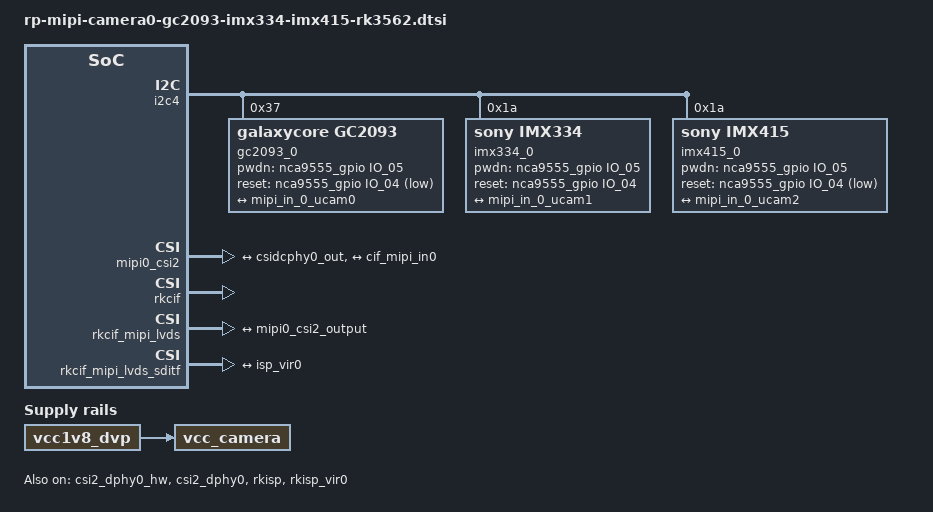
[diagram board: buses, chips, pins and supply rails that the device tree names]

/ {


        vcc_camera: vcc-camera-regulator {
                compatible = "regulator-fixed";
                regulator-name = "vcc_camera";
                enable-active-high;
                regulator-always-on;
                regulator-boot-on;
		vin-supply = <&vcc1v8_dvp>;
        };
};

&i2c4 {
        status = "okay";
        gc2093_0: gc2093_0@37 {
                compatible = "galaxycore,gc2093";
                status = "okay";
                reg = <0x37>;
                clocks = <&cru CLK_CAM0_OUT2IO>;
                clock-names = "xvclk";
                pinctrl-names = "default";
		pinctrl-0 = <&camm0_clk0_out>;
                pwdn-gpios = <&nca9555_gpio IO_05 GPIO_ACTIVE_HIGH>;
                reset-gpios = <&nca9555_gpio IO_04 GPIO_ACTIVE_LOW>;
                rockchip,camera-module-index = <0>;
                rockchip,camera-module-facing = "back";
                rockchip,camera-module-name = "DW-RV2093-V1.0";
                rockchip,camera-module-lens-name = "JZ-7070AS-A1";
                port {
                        ucam_0_out0: endpoint {
                                remote-endpoint = <&mipi_in_0_ucam0>;
                                data-lanes = <1 2>;
                        };
                };
        };

   	imx334_0: imx334_0@1a {
                compatible = "sony,imx334";
                status = "okay";
                reg = <0x1a>;
                clocks = <&cru CLK_CAM0_OUT2IO>;
                clock-names = "xvclk";
                // conflict with csi-ctl-gpios//
                pwdn-gpios = <&nca9555_gpio IO_05 GPIO_ACTIVE_HIGH>;
                reset-gpios = <&nca9555_gpio IO_04 GPIO_ACTIVE_HIGH>;
                pinctrl-names = "default";
                pinctrl-0 = <&camm0_clk0_out>;
                rockchip,camera-module-index = <0>;
                rockchip,camera-module-facing = "back";
                rockchip,camera-module-name = "CMK-OT1522-FG3";
                rockchip,camera-module-lens-name = "CS-P1150-IRC-8M-FAU";
                
                port {
                        ucam_0_out1: endpoint {
                                remote-endpoint = <&mipi_in_0_ucam1>;
                                data-lanes = <1 2 3 4>;
                        };
                };
        };

    	imx415_0: imx415_0@1a {
                compatible = "sony,imx415";
                status = "okay";
                reg = <0x1a>;
                clocks = <&cru CLK_CAM0_OUT2IO>;
                clock-names = "xvclk";
                pwdn-gpios = <&nca9555_gpio IO_05 GPIO_ACTIVE_HIGH>;
                reset-gpios = <&nca9555_gpio IO_04 GPIO_ACTIVE_LOW>;
                pinctrl-names = "default";
                pinctrl-0 = <&camm0_clk0_out>;
                rockchip,camera-module-index = <0>;
                rockchip,camera-module-facing = "back";
                rockchip,camera-module-name = "CMK-OT1607-FV1";
                rockchip,camera-module-lens-name = "M12-40IRC-4MP-F16";
                port {
                        ucam_0_out2: endpoint {
                                remote-endpoint = <&mipi_in_0_ucam2>;
                                data-lanes = <1 2 3 4>;
                        };
                };
        };
    
};


&csi2_dphy0_hw {
	status = "okay";
};

&csi2_dphy0 {
        status = "okay";

        ports {
                #address-cells = <1>;
                #size-cells = <0>;
                port@0 {
                        reg = <0>;
                        #address-cells = <1>;
                        #size-cells = <0>;

                        mipi_in_0_ucam0: endpoint@0 {
                                reg = <0>;
                                remote-endpoint = <&ucam_0_out0>;
                                data-lanes = <1 2>;
                        };

                        mipi_in_0_ucam1: endpoint@1 {
                                reg = <1>;
                                remote-endpoint = <&ucam_0_out1>;
                                data-lanes = <1 2 3 4>;
                        };

                        mipi_in_0_ucam2: endpoint@2 {
                                reg = <2>;
                                remote-endpoint = <&ucam_0_out2>;
                                data-lanes = <1 2 3 4>;
                        };
              };
                port@1 {
                        reg = <1>;
                        #address-cells = <1>;
                        #size-cells = <0>;

                        csidcphy0_out: endpoint@0 {
                                reg = <0>;
                                remote-endpoint = <&mipi0_csi2_input>;
                        };
                };
        };
};


&mipi0_csi2 {
	status = "okay";

	ports {
		#address-cells = <1>;
		#size-cells = <0>;

		port@0 {
			reg = <0>;
			#address-cells = <1>;
			#size-cells = <0>;

			mipi0_csi2_input: endpoint@1 {
				reg = <1>;
				remote-endpoint = <&csidcphy0_out>;
			};
		};

		port@1 {
			reg = <1>;
			#address-cells = <1>;
			#size-cells = <0>;

			mipi0_csi2_output: endpoint@0 {
				reg = <0>;
				remote-endpoint = <&cif_mipi_in0>;
			};
		};
	};
};

&rkcif {
	status = "okay";
};

&rkcif_mipi_lvds {
	status = "okay";

	port {
		cif_mipi_in0: endpoint {
			remote-endpoint = <&mipi0_csi2_output>;
		};
	};
};

&rkcif_mipi_lvds_sditf {
	status = "okay";

	port {
		mipi_lvds_sditf: endpoint {
			remote-endpoint = <&isp_vir0>;
		};
	};
};

&rkcif_mmu {
	status = "okay";
};

&rkisp {
	status = "okay";
};

&rkisp_mmu {
	status = "okay";
};

&rkisp_vir0 {
	status = "okay";

	port {
		#address-cells = <1>;
		#size-cells = <0>;

		isp_vir0: endpoint@0 {
			reg = <0>;
			remote-endpoint = <&mipi_lvds_sditf>;
		};
	};
};

